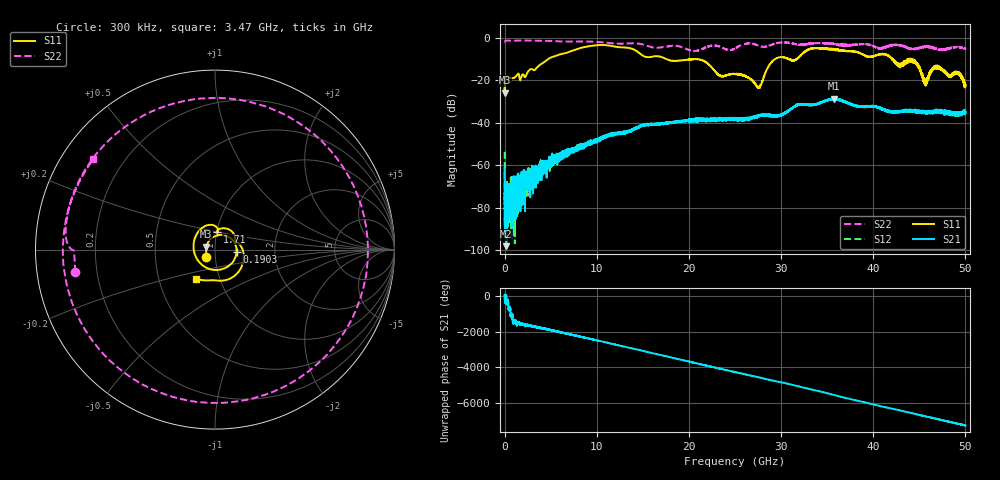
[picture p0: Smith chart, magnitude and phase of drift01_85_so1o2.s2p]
!Created with skrf (http://scikit-rf.org).
# Hz S RI R 50.0
!freq ReS11 ImS11 ReS21 ImS21 ReS12 ImS12 ReS22 ImS22
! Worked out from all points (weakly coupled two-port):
!   10001 points, 300 kHz to 50 GHz, reference 50 ohm
!   highest |S21| = -28.65 dB at 35.71 GHz (marker M1); lowest = -98.0 dB at 185.3 MHz (marker M2)
!   lowest |S11| = -25.8 dB at 5.3 MHz (marker M3), VSWR 1.11, Z = 45.3 + j1.41 ohm
!   |S11| at or under -10 dB: start of sweep to 4.764 GHz; 17.52 GHz to 29.37 GHz (11.85 GHz wide, 50.5 % of centre); 44.14 GHz to end of sweep (the widest 3 of 12)
!   |S22| runs from -6.4 to -1.4 dB; largest |S21 - S12| = 0.0042
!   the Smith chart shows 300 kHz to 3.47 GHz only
!   S11 on the Smith chart (normalised r, x): 300 kHz: 0.90, -0.07; 190.3 MHz: 1.27, -0.03; 1.71 GHz: 1.00, +0.20; 3.47 GHz: 0.77, -0.26
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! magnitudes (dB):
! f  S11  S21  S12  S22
! 300 kHz  -23.9  -61.5  -53.6  -2.1
! 5.3 MHz  -25.8  -76.1  -74.3  -2.1
! 185.3 MHz  -18.4  -98.0  -76.6  -1.4
! 190.3 MHz  -18.3  -82.9  -75.7  -1.4
! 260.3 MHz  -18.3  -69.8  -79.1  -1.4
! 1.71 GHz  -20.0  -70.9  -69.7  -1.4
! 3.47 GHz  -14.3  -65.5  -64.2  -1.5
! 8.335 GHz  -4.8  -51.3  -51.4  -1.8
! 16.67 GHz  -8.8  -40.5  -40.7  -4.8
! 21.22 GHz  -10.4  -38.4  -38.7  -5.7
! 25 GHz  -17.0  -37.8  -38.2  -5.0
! 27.59 GHz  -23.1  -36.8  -36.6  -3.7
! 29.3 GHz  -10.3  -36.8  -36.9  -2.9
! 31.48 GHz  -10.6  -32.2  -32.5  -2.9
! 33.34 GHz  -5.1  -31.6  -31.7  -2.7
! 35.71 GHz  -5.5  -28.6  -28.8  -3.0
! 41.67 GHz  -8.6  -34.7  -34.8  -4.1
! 42.8 GHz  -12.8  -34.8  -34.8  -3.5
! 44.51 GHz  -10.9  -34.7  -34.5  -5.2
! 45.63 GHz  -20.4  -35.3  -35.0  -4.3
! 46.96 GHz  -13.4  -34.1  -34.4  -5.4
! 50 GHz  -22.3  -35.1  -34.7  -5.1
